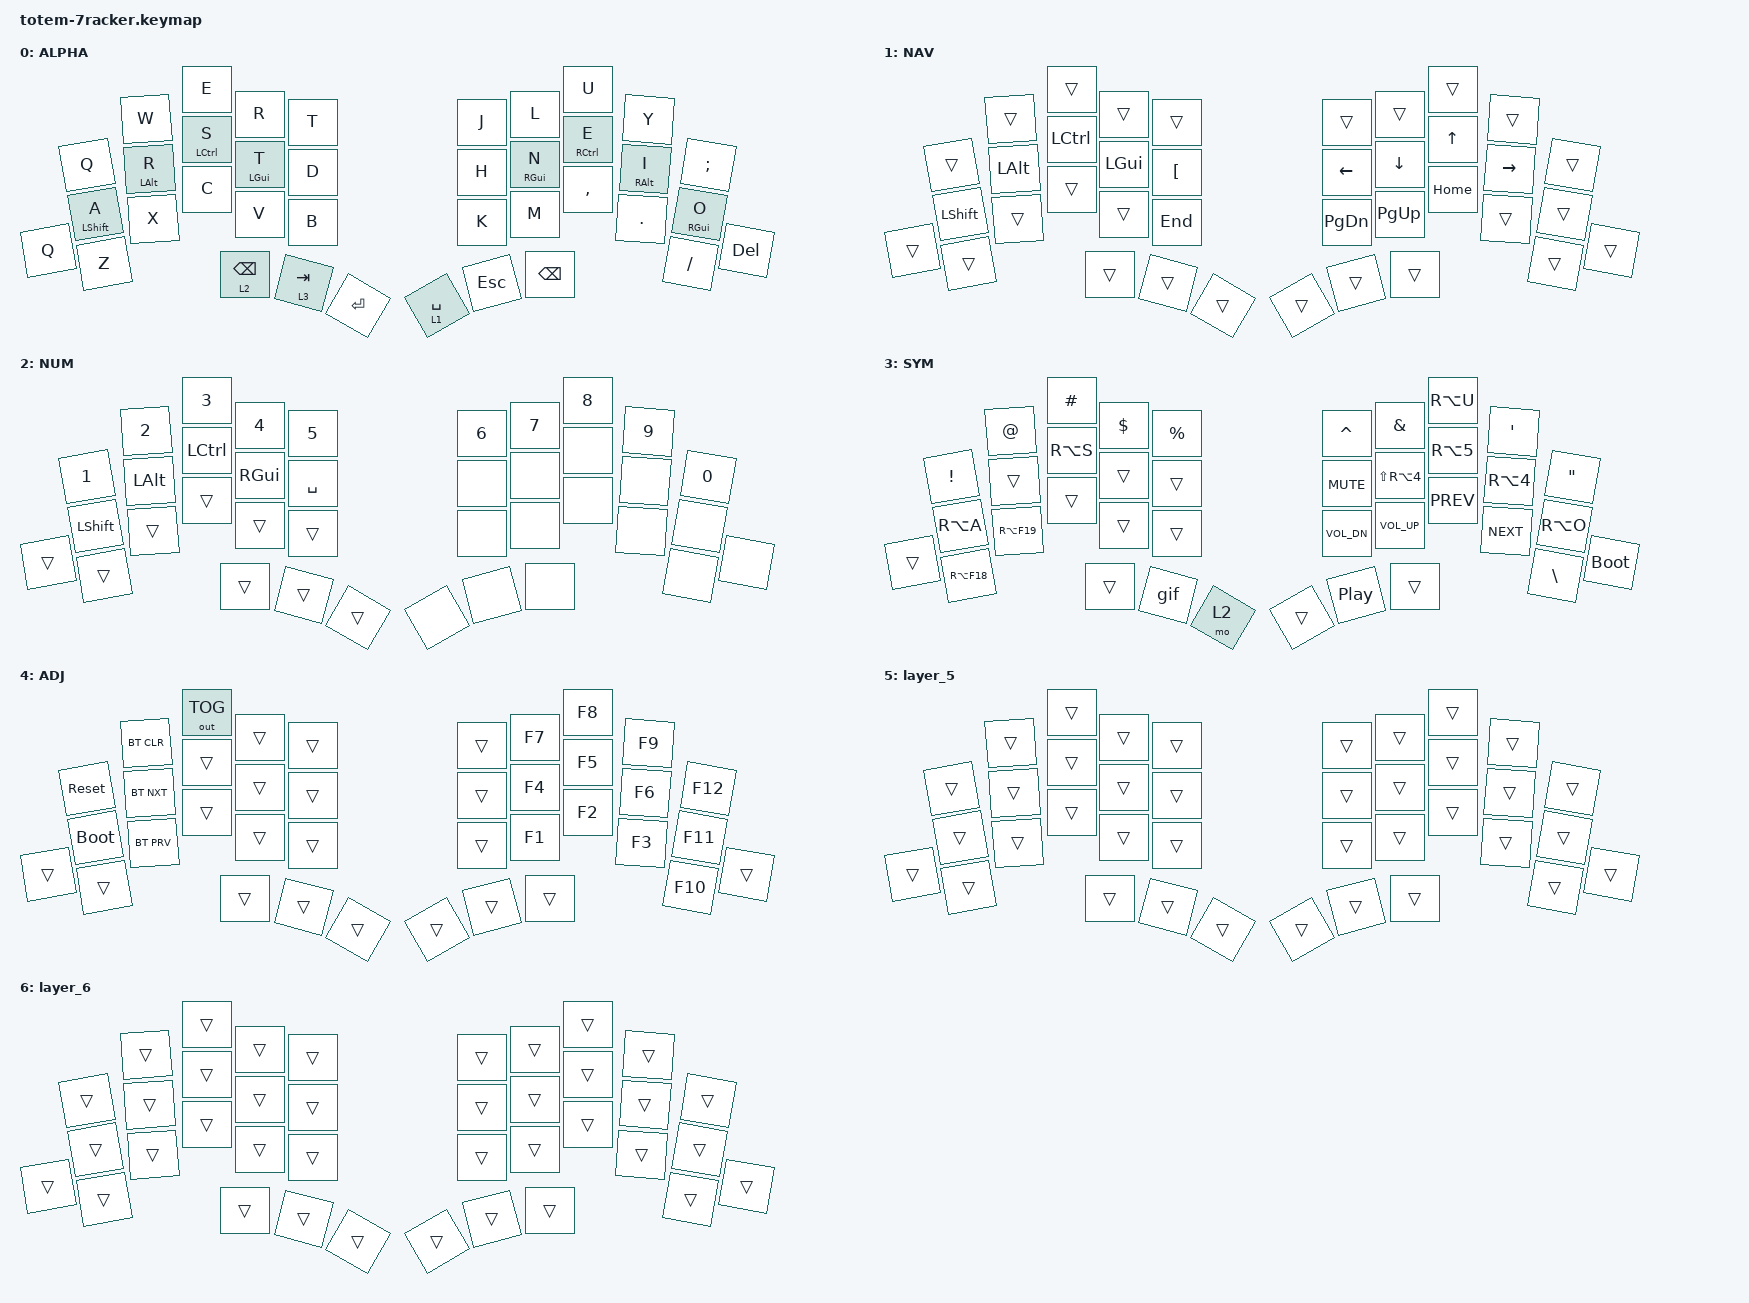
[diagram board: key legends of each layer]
//
//                                                        ▀▀▀▀▀     ▀▀▀▀▀          ▀▀█▀▀
//                                                        ▄▀▀▀▄  ▄  ▄▀▀▀▄  ▄  ▄▀▀▀▄  █  ▄▀▀▀▄
//                                                        █   █  █  █   █  █  █   █  █  █   █
//                                                         ▀▀▀   █   ▀▀▀   █   ▀▀▀   ▀   ▀▀▀
//                                                               █      ▄▄▄█▄▄▄    █   █  
//                                                               ▀      █  █  █     █▄█
//                                                             ▀▀▀▀▀    █  █  █      ▀
//                                                                      ▀  ▀  ▀
//
// ▄▄▄▄▄▄▄▄▄▄▄▄▄▄▄▄▄▄▄▄▄▄▄▄▄▄▄▄▄▄▄▄▄▄▄▄▄▄▄▄▄▄▄▄▄▄▄▄▄▄▄▄▄▄▄▄▄▄▄▄▄▄▄▄▄▄▄▄▄▄▄▄▄▄▄▄▄▄▄▄▄▄▄▄▄▄▄▄▄▄▄▄▄▄▄▄▄▄▄▄▄▄▄▄▄▄▄▄▄▄▄▄▄▄▄▄▄▄▄▄▄▄▄▄▄▄▄▄▄▄▄▄▄▄▄▄▄▄▄▄▄▄▄▄▄▄▄▄▄

#include <behaviors.dtsi>
#include <dt-bindings/zmk/bt.h>
#include <dt-bindings/zmk/keys.h>
#include <dt-bindings/zmk/outputs.h>

#define BASE 0
#define NAV  1
#define SYM  2
#define ADJ  3
#define TVP1 4
#define TVP2 5

&mt {
    quick-tap-ms = <100>;
    global-quick-tap;
    flavor = "tap-preferred";
    tapping-term-ms = <170>;
};

/ {
    combos {
        compatible = "zmk,combos";

        combo_esc {
            timeout-ms = <50>;
            key-positions = <0 1>;
            bindings = <&kp ESC>;
        };

        combo_tvp {
            timeout-ms = <100>;
            key-positions = <11 12 13>;
            bindings = <&tog 0>;
        };
    };

    macros {
        gif: gif {
            label = "giphy";
            compatible = "zmk,behavior-macro";
            #binding-cells = <0>;
            bindings =
                <&macro_press>,
                <&kp LSHFT>,
                <&macro_tap>,
                <&kp N2>,
                <&macro_release>,
                <&kp LSHFT>,
                <&macro_tap>,
                <&kp G &kp I &kp F>;
        };
    };

    keymap {
        compatible = "zmk,keymap";

        // ▄▄▄▄▄▄▄▄▄▄▄▄▄▄▄▄▄▄▄▄▄▄▄▄▄▄▄▄▄▄▄▄▄▄▄▄▄▄▄▄▄▄▄▄▄▄▄▄▄▄▄▄▄▄▄▄▄▄▄▄▄▄▄▄▄▄▄▄▄▄▄▄▄▄▄▄▄▄▄▄▄▄▄▄▄▄▄▄▄▄▄▄▄▄▄▄▄▄▄▄▄▄▄▄▄▄▄▄▄▄▄▄▄▄▄▄▄▄▄▄▄▄▄▄▄▄▄▄▄▄▄▄▄▄▄▄▄▄▄▄▄▄▄▄▄▄▄▄▄

        Alpha {
            // ┏━━━━━━━━━━━━━━━━━━━━━━━━━━━━━━━━━━━━━━━┓

            label = "ALPHA";

            // ┗━━━━━━━━━━━━━━━━━━━━━━━━━━━━━━━━━━━━━━━┛
            //             ┏━━━━━━━━━━━┳━━━━━━━━━━━┳━━━━━━━━━━━┳━━━━━━━━━━━┳━━━━━━━━━━━┓   ┏━━━━━━━━━━━┳━━━━━━━━━━━┳━━━━━━━━━━━┳━━━━━━━━━━━┳━━━━━━━━━━━┓
            //             ┃     Q     ┃     W     ┃     F     ┃     P     ┃     G     ┃   ┃     J     ┃     L     ┃     U     ┃     Y     ┃     ;     ┃
            //             ┣━━━━━━━━━━━╋━━━━━━━━━━━╋━━━━━━━━━━━╋━━━━━━━━━━━╋━━━━━━━━━━━┫   ┣━━━━━━━━━━━╋━━━━━━━━━━━╋━━━━━━━━━━━╋━━━━━━━━━━━╋━━━━━━━━━━━┫
            //             ┃     A     ┃     R     ┃     S     ┃     T     ┃     D     ┃   ┃     H     ┃     N     ┃     E     ┃     I     ┃     O     ┃
            // ┏━━━━━━━━━━━╋━━━━━━━━━━━╋━━━━━━━━━━━╋━━━━━━━━━━━╋━━━━━━━━━━━╋━━━━━━━━━━━┫   ┣━━━━━━━━━━━╋━━━━━━━━━━━╋━━━━━━━━━━━╋━━━━━━━━━━━╋━━━━━━━━━━━╋━━━━━━━━━━━┓
            // ┃     Q     ┃     Z     ┃     X     ┃     C     ┃     V     ┃     B     ┃   ┃     K     ┃     M     ┃     ,     ┃     .     ┃     /     ┃     \     ┃
            // ┗━━━━━━━━━━━┻━━━━━━━━━━━┻━━━━━━━━━━━╋━━━━━━━━━━━╋━━━━━━━━━━━╋━━━━━━━━━━━┫   ┣━━━━━━━━━━━╋━━━━━━━━━━━╋━━━━━━━━━━━╋━━━━━━━━━━━┻━━━━━━━━━━━┻━━━━━━━━━━━┛
            //                                     ┃    DEL    ┃    TAB    ┃    SPC    ┃   ┃   ENTER   ┃           ┃   BSPC    ┃
            //                                     ┗━━━━━━━━━━━┻━━━━━━━━━━━┻━━━━━━━━━━━┛   ┗━━━━━━━━━━━┻━━━━━━━━━━━┻━━━━━━━━━━━┛

            bindings = <
&kp Q         &kp W       &kp E        &kp R            &kp T      &kp J      &kp L        &kp U        &kp Y       &kp SEMI
&mt LSHIFT A  &mt LALT R  &mt LCTRL S  &mt LGUI T       &kp D      &kp H      &mt RGUI N   &mt RCTRL E  &mt RALT I  &mt RGUI O
&kp Q         &kp Z       &kp X        &kp C            &kp V      &kp B      &kp K        &kp M        &kp COMMA   &kp DOT
&kp FSLH                  &kp DEL      &lt 2 BACKSPACE  &lt 3 TAB  &kp ENTER  &lt 1 SPACE  &kp ESC                  &kp BSPC
            >;
        };

        Navigation {
            // ┏━━━━━━━━━━━━━━━━━━━━━━━━━━━━━━━━━━━━━━━┓

            label = "NAV";

            // ┗━━━━━━━━━━━━━━━━━━━━━━━━━━━━━━━━━━━━━━━┛
            //             ┏━━━━━━━━━━━┳━━━━━━━━━━━┳━━━━━━━━━━━┳━━━━━━━━━━━┳━━━━━━━━━━━┓   ┏━━━━━━━━━━━┳━━━━━━━━━━━┳━━━━━━━━━━━┳━━━━━━━━━━━┳━━━━━━━━━━━┓
            //             ┃           ┃           ┃     UP    ┃           ┃     {     ┃   ┃     }     ┃     7     ┃     8     ┃     9     ┃     +     ┃
            //             ┣━━━━━━━━━━━╋━━━━━━━━━━━╋━━━━━━━━━━━╋━━━━━━━━━━━╋━━━━━━━━━━━┫   ┣━━━━━━━━━━━╋━━━━━━━━━━━╋━━━━━━━━━━━╋━━━━━━━━━━━╋━━━━━━━━━━━┫
            //             ┃   SHIFT   ┃   LEFT    ┃    DOWN   ┃   RIGHT   ┃     [     ┃   ┃     ]     ┃     4     ┃     5     ┃     6     ┃     -     ┃
            // ┏━━━━━━━━━━━╋━━━━━━━━━━━╋━━━━━━━━━━━╋━━━━━━━━━━━╋━━━━━━━━━━━╋━━━━━━━━━━━┫   ┣━━━━━━━━━━━╋━━━━━━━━━━━╋━━━━━━━━━━━╋━━━━━━━━━━━╋━━━━━━━━━━━╋━━━━━━━━━━━┓
            // ┃           ┃           ┃   P UP    ┃  C LOCK   ┃  P DOWN   ┃     (     ┃   ┃     )     ┃     1     ┃     2     ┃     3     ┃     *     ┃           ┃
            // ┗━━━━━━━━━━━┻━━━━━━━━━━━┻━━━━━━━━━━━╋━━━━━━━━━━━╋━━━━━━━━━━━╋━━━━━━━━━━━┫   ┣━━━━━━━━━━━╋━━━━━━━━━━━╋━━━━━━━━━━━╋━━━━━━━━━━━┻━━━━━━━━━━━┻━━━━━━━━━━━┛
            //                                     ┃           ┃    TAB    ┃    SPC    ┃   ┃    DEL    ┃     0     ┃           ┃
            //                                     ┗━━━━━━━━━━━┻━━━━━━━━━━━┻━━━━━━━━━━━┛   ┗━━━━━━━━━━━┻━━━━━━━━━━━┻━━━━━━━━━━━┛

            bindings = <
&trans     &trans    &trans     &trans    &trans    &trans          &trans     &trans        &trans     &trans
&kp LSHFT  &kp LALT  &kp LCTRL  &kp LGUI  &kp LBKT  &kp LEFT_ARROW  &kp DOWN   &kp UP_ARROW  &kp RIGHT  &trans
&trans     &trans    &trans     &trans    &trans    &kp END         &kp PG_DN  &kp PG_UP     &kp HOME   &trans
&trans               &trans     &trans    &trans    &trans          &trans     &trans                   &trans
            >;
        };

        Numbers {
            // ┏━━━━━━━━━━━━━━━━━━━━━━━━━━━━━━━━━━━━━━━┓

            label = "NUM";

            // ┗━━━━━━━━━━━━━━━━━━━━━━━━━━━━━━━━━━━━━━━┛
            //             ┏━━━━━━━━━━━┳━━━━━━━━━━━┳━━━━━━━━━━━┳━━━━━━━━━━━┳━━━━━━━━━━━┓   ┏━━━━━━━━━━━┳━━━━━━━━━━━┳━━━━━━━━━━━┳━━━━━━━━━━━┳━━━━━━━━━━━┓
            //             ┃ NEXT FILE ┃ MARK IN   ┃ ROTATE    ┃ MARK OUT  ┃ SHOW SNAP ┃   ┃           ┃           ┃           ┃           ┃           ┃
            //             ┣━━━━━━━━━━━╋━━━━━━━━━━━╋━━━━━━━━━━━╋━━━━━━━━━━━╋━━━━━━━━━━━┫   ┣━━━━━━━━━━━╋━━━━━━━━━━━╋━━━━━━━━━━━╋━━━━━━━━━━━╋━━━━━━━━━━━┫
            //             ┃ TVP II    ┃ LEFT      ┃ PAN       ┃ RIGHT     ┃ PLAY/FLIP ┃   ┃           ┃           ┃           ┃           ┃           ┃
            // ┏━━━━━━━━━━━╋━━━━━━━━━━━╋━━━━━━━━━━━╋━━━━━━━━━━━╋━━━━━━━━━━━╋━━━━━━━━━━━┫   ┣━━━━━━━━━━━╋━━━━━━━━━━━╋━━━━━━━━━━━╋━━━━━━━━━━━╋━━━━━━━━━━━╋━━━━━━━━━━━┓
            // ┃ FULLSCR   ┃ SHIFT     ┃ COPY      ┃ DELETE    ┃ PASTE     ┃ IMG MARK  ┃   ┃           ┃           ┃           ┃           ┃           ┃           ┃
            // ┗━━━━━━━━━━━┻━━━━━━━━━━━┻━━━━━━━━━━━╋━━━━━━━━━━━╋━━━━━━━━━━━╋━━━━━━━━━━━┫   ┣━━━━━━━━━━━╋━━━━━━━━━━━╋━━━━━━━━━━━╋━━━━━━━━━━━┻━━━━━━━━━━━┻━━━━━━━━━━━┛
            //                                     ┃           ┃ UNDO/SAVE ┃  SEL/MOV  ┃   ┃           ┃           ┃           ┃
            //                                     ┗━━━━━━━━━━━┻━━━━━━━━━━━┻━━━━━━━━━━━┛   ┗━━━━━━━━━━━┻━━━━━━━━━━━┻━━━━━━━━━━━┛

            bindings = <
&kp NUMBER_1  &kp NUMBER_2  &kp NUMBER_3  &kp NUMBER_4  &kp N5     &kp NUMBER_6  &kp NUMBER_7  &kp NUMBER_8  &kp NUMBER_9  &kp NUMBER_0
&kp LSHFT     &kp LEFT_ALT  &kp LCTRL     &kp RGUI      &kp SPACE  &none         &none         &none         &none         &none
&trans        &trans        &trans        &trans        &trans     &trans        &none         &none         &none         &none
&none                       &none         &trans        &trans     &trans        &none         &none                       &none
            >;
        };

        Symbols {
            // ┏━━━━━━━━━━━━━━━━━━━━━━━━━━━━━━━━━━━━━━━┓

            label = "SYM";

            // ┗━━━━━━━━━━━━━━━━━━━━━━━━━━━━━━━━━━━━━━━┛
            //             ┏━━━━━━━━━━━┳━━━━━━━━━━━┳━━━━━━━━━━━┳━━━━━━━━━━━┳━━━━━━━━━━━┓   ┏━━━━━━━━━━━┳━━━━━━━━━━━┳━━━━━━━━━━━┳━━━━━━━━━━━┳━━━━━━━━━━━┓
            //             ┃     !     ┃     @     ┃     #     ┃     $     ┃     %     ┃   ┃     ˆ     ┃     &     ┃     Ü     ┃     '     ┃     "     ┃
            //             ┣━━━━━━━━━━━╋━━━━━━━━━━━╋━━━━━━━━━━━╋━━━━━━━━━━━╋━━━━━━━━━━━┫   ┣━━━━━━━━━━━╋━━━━━━━━━━━╋━━━━━━━━━━━╋━━━━━━━━━━━╋━━━━━━━━━━━┫
            //             ┃     Ä     ┃           ┃    SZ     ┃           ┃           ┃   ┃   MUTE    ┃   YEN     ┃   EURO    ┃  POUND    ┃     Ö     ┃
            // ┏━━━━━━━━━━━╋━━━━━━━━━━━╋━━━━━━━━━━━╋━━━━━━━━━━━╋━━━━━━━━━━━╋━━━━━━━━━━━┫   ┣━━━━━━━━━━━╋━━━━━━━━━━━╋━━━━━━━━━━━╋━━━━━━━━━━━╋━━━━━━━━━━━╋━━━━━━━━━━━┓
            // ┃           ┃  EMAIL1   ┃  EMAIL2   ┃           ┃           ┃           ┃   ┃   VOL-    ┃   VOL+    ┃   LAST    ┃   NEXT    ┃     \     ┃           ┃
            // ┗━━━━━━━━━━━┻━━━━━━━━━━━┻━━━━━━━━━━━╋━━━━━━━━━━━╋━━━━━━━━━━━╋━━━━━━━━━━━┫   ┣━━━━━━━━━━━╋━━━━━━━━━━━╋━━━━━━━━━━━╋━━━━━━━━━━━┻━━━━━━━━━━━┻━━━━━━━━━━━┛
            //                                     ┃           ┃    GIF    ┃    ADJ    ┃   ┃           ┃           ┃           ┃
            //                                     ┗━━━━━━━━━━━┻━━━━━━━━━━━┻━━━━━━━━━━━┛   ┗━━━━━━━━━━━┻━━━━━━━━━━━┻━━━━━━━━━━━┛

            bindings = <
&kp EXCL   &kp AT       &kp HASH     &kp DLLR  &kp PRCNT  &kp CARET   &kp AMPS        &kp RA(U)     &kp SQT     &kp DQT
&kp RA(A)  &trans       &kp RA(S)    &trans    &trans     &kp C_MUTE  &kp LS(RA(N4))  &kp RA(N5)    &kp RA(N4)  &kp RA(O)
&trans     &kp RA(F18)  &kp RA(F19)  &trans    &trans     &trans      &kp C_VOL_DN    &kp C_VOL_UP  &kp C_PREV  &kp C_NEXT
&kp BSLH                &bootloader  &trans    &gif       &mo 2       &trans          &kp C_PP                  &trans
            >;
        };

        Adjust {
            // ┏━━━━━━━━━━━━━━━━━━━━━━━━━━━━━━━━━━━━━━━┓

            label = "ADJ";

            // ┗━━━━━━━━━━━━━━━━━━━━━━━━━━━━━━━━━━━━━━━┛
            //             ┏━━━━━━━━━━━┳━━━━━━━━━━━┳━━━━━━━━━━━┳━━━━━━━━━━━┳━━━━━━━━━━━┓   ┏━━━━━━━━━━━┳━━━━━━━━━━━┳━━━━━━━━━━━┳━━━━━━━━━━━┳━━━━━━━━━━━┓
            //             ┃   RESET   ┃ BT CLEAR  ┃  OUT TOG  ┃           ┃           ┃   ┃           ┃    F7     ┃    F8     ┃    F9     ┃    F12    ┃
            //             ┣━━━━━━━━━━━╋━━━━━━━━━━━╋━━━━━━━━━━━╋━━━━━━━━━━━╋━━━━━━━━━━━┫   ┣━━━━━━━━━━━╋━━━━━━━━━━━╋━━━━━━━━━━━╋━━━━━━━━━━━╋━━━━━━━━━━━┫
            //             ┃ BOOTLOAD  ┃ BT NEXT   ┃           ┃           ┃           ┃   ┃           ┃    F4     ┃    F5     ┃    F6     ┃    F11    ┃
            // ┏━━━━━━━━━━━╋━━━━━━━━━━━╋━━━━━━━━━━━╋━━━━━━━━━━━╋━━━━━━━━━━━╋━━━━━━━━━━━┫   ┣━━━━━━━━━━━╋━━━━━━━━━━━╋━━━━━━━━━━━╋━━━━━━━━━━━╋━━━━━━━━━━━╋━━━━━━━━━━━┓
            // ┃           ┃           ┃ BT PREV   ┃           ┃           ┃           ┃   ┃           ┃    F1     ┃    F2     ┃    F3     ┃    F10    ┃           ┃
            // ┗━━━━━━━━━━━┻━━━━━━━━━━━┻━━━━━━━━━━━╋━━━━━━━━━━━╋━━━━━━━━━━━╋━━━━━━━━━━━┫   ┣━━━━━━━━━━━╋━━━━━━━━━━━╋━━━━━━━━━━━╋━━━━━━━━━━━┻━━━━━━━━━━━┻━━━━━━━━━━━┛
            //                                     ┃           ┃           ┃           ┃   ┃           ┃           ┃           ┃
            //                                     ┗━━━━━━━━━━━┻━━━━━━━━━━━┻━━━━━━━━━━━┛   ┗━━━━━━━━━━━┻━━━━━━━━━━━┻━━━━━━━━━━━┛

            bindings = <
&sys_reset   &bt BT_CLR  &out OUT_TOG  &trans  &trans  &trans  &kp F7  &kp F8  &kp F9  &kp F12
&bootloader  &bt BT_NXT  &trans        &trans  &trans  &trans  &kp F4  &kp F5  &kp F6  &kp F11
&trans       &trans      &bt BT_PRV    &trans  &trans  &trans  &trans  &kp F1  &kp F2  &kp F3
&kp F10                  &trans        &trans  &trans  &trans  &trans  &trans          &trans
            >;
        };

        layer_5 {
            bindings = <
&trans  &trans  &trans  &trans  &trans  &trans  &trans  &trans  &trans  &trans
&trans  &trans  &trans  &trans  &trans  &trans  &trans  &trans  &trans  &trans
&trans  &trans  &trans  &trans  &trans  &trans  &trans  &trans  &trans  &trans
&trans          &trans  &trans  &trans  &trans  &trans  &trans          &trans
            >;
        };

        layer_6 {
            bindings = <
&trans  &trans  &trans  &trans  &trans  &trans  &trans  &trans  &trans  &trans
&trans  &trans  &trans  &trans  &trans  &trans  &trans  &trans  &trans  &trans
&trans  &trans  &trans  &trans  &trans  &trans  &trans  &trans  &trans  &trans
&trans          &trans  &trans  &trans  &trans  &trans  &trans          &trans
            >;
        };

        // ▄▄▄▄▄▄▄▄▄▄▄▄▄▄▄▄▄▄▄▄▄▄▄▄▄▄▄▄▄▄▄▄▄▄▄▄▄▄▄▄▄▄▄▄▄▄▄▄▄▄▄▄▄▄▄▄▄▄▄▄▄▄▄▄▄▄▄▄▄▄▄▄▄▄▄▄▄▄▄▄▄▄▄▄▄▄▄▄▄▄▄▄▄▄▄▄▄▄▄▄▄▄▄▄▄▄▄▄▄▄▄▄▄▄▄▄▄▄▄▄▄▄▄▄▄▄▄▄▄▄▄▄▄▄▄▄▄▄▄▄▄▄▄▄▄▄▄▄▄
    };
};
